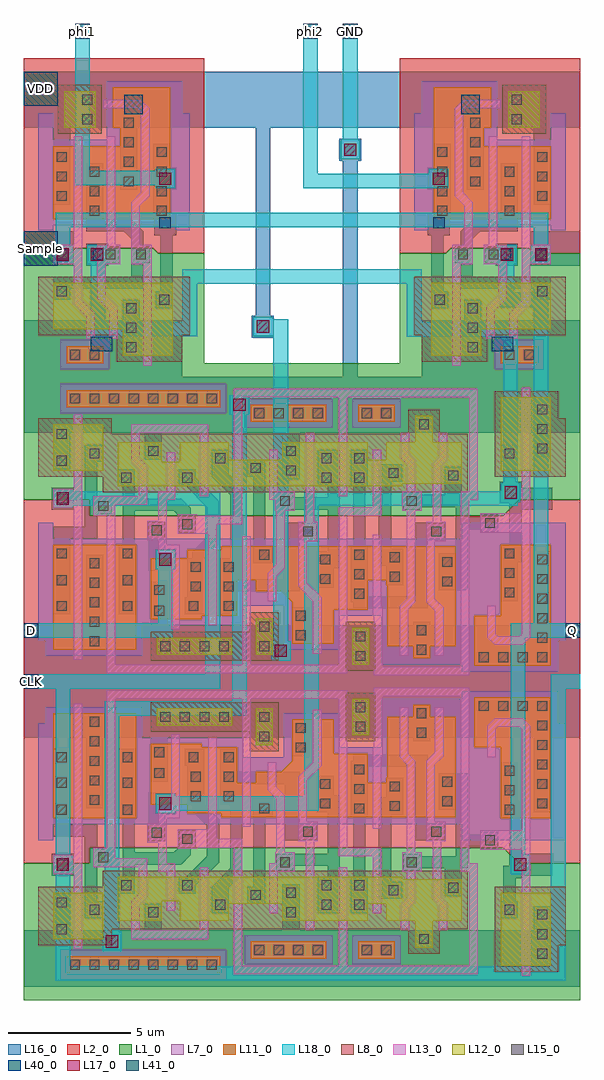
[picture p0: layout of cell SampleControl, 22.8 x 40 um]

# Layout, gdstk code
from math import pi, radians
import gdstk
lib = gdstk.Library(unit=1e-6, precision=1e-09)
def R(c, l, rs):  # rectangles x0, y0, x1, y1
    for r in rs: c.add(gdstk.rectangle(r[:2], r[2:], *l))
def A(c, l, x, y, w, h, nx, ny, dx, dy):  # array of equal rectangles
    R(c, l, [(x+i*dx, y+j*dy, x+i*dx+w, y+j*dy+h) for i in range(nx) for j in range(ny)])
def P(c, l, *ps):  # polygons
    for p in ps: c.add(gdstk.Polygon(p, *l))
L1_0 = (1, 0)
L2_0 = (2, 0)
L7_0 = (7, 0)
L8_0 = (8, 0)
L11_0 = (11, 0)
L12_0 = (12, 0)
L13_0 = (13, 0)
L15_0 = (15, 0)
L16_0 = (16, 0)
L17_0 = (17, 0)
L18_0 = (18, 0)
L40_0 = (40, 0)
L41_0 = (41, 0)

dff1q = lib.new_cell('DFF1Q')
P(dff1q, L1_0, [(21.2,5.05),(18.7,5.05),(18.05,5.7),(1.1,5.7),(1.1,5.05),(-1.6,5.05),(-1.6,-0.55),(21.2,-0.55)])
P(dff1q, L2_0, [(21.2,13.05),(-1.6,13.05),(-1.6,5.05),(1.1,5.05),(1.1,5.7),(18.05,5.7),(18.7,5.05),(21.2,5.05)])
R(dff1q, L7_0, [(-0.1,0.3,6.7,1.5), (7.45,0.9,11.05,2.1), (11.85,0.9,13.85,2.1)])
P(dff1q, L7_0, [(-1,6),(-1,10.8),(-0.7,10.8),(-0.7,11.45),(3.25,11.45),(3.25,10.2),(7.4,10.2),(7.4,9.4),(9.05,9.4),(9.05,11.2),(11.35,11.2),(11.35,9.8),(13.05,9.8),(13.05,11.8),(16.35,11.8),(16.35,12.1),(20.3,12.1),(20.3,10.8),(20.6,10.8),(20.6,6),(16.35,6),(16.35,6.65),(-0.4,6.65),(-0.4,6)])
R(dff1q, L8_0, [(11.6,10.05,12.8,12.05)])
P(dff1q, L8_0, [(17.7,0.6),(17.7,4.1),(20.6,4.1),(20.6,1.7),(20.3,1.7),(20.3,0.6)],
  [(7.65,9.65),(7.65,10.45),(3.6,10.45),(3.6,11.65),(8.85,11.65),(8.85,9.65)],
  [(14.15,1.35),(14.15,2.35),(2,2.35),(2,1.7),(-1,1.7),(-1,4.1),(1.625,4.1),(1.625,4.75),(16.6,4.75),(16.6,2.35),(15.45,2.35),(15.45,1.35)])
R(dff1q, L11_0, [(0.15,0.55,6.45,1.25), (7.7,1.15,10.8,1.85), (12.1,1.15,13.6,1.85), (-0.4,6.9,3,11.2)])
P(dff1q, L11_0, [(17.95,6.9),(17.95,9.8),(16.85,9.8),(16.85,11.85),(20,11.85),(20,6.9)],
  [(6.5,6.95),(6.5,7.1),(5.1,7.1),(5.1,7.45),(3.6,7.45),(3.6,9.95),(5.7,9.95),(5.7,9.8),(7.15,9.8),(7.15,8.35),(7.9,8.35),(7.9,8.8),(8.95,8.8),(9.4,9.25),(9.4,10.95),(11.1,10.95),(11.1,9.55),(12.5,9.55),(12.5,8.35),(13.25,8.35),(13.25,8.55),(13.3,8.55),(13.3,11.05),(14.35,11.05),(14.35,11.55),(15.05,11.55),(15.05,11.05),(16.1,11.05),(16.1,6.95)])
R(dff1q, L12_0, [(17.95,0.85,20,3.85), (-0.4,1.95,1.65,3.85), (7.9,9.9,8.6,11.4), (11.85,10.3,12.55,11.8), (3.85,10.7,6.95,11.4)])
P(dff1q, L12_0, [(2.25,2.7),(2.25,4.5),(13.9,4.5),(13.9,4.4),(16.35,4.4),(16.35,2.7),(15.15,2.7),(15.15,1.6),(14.45,1.6),(14.45,2.7),(13.25,2.7),(13.25,3.4),(12.5,3.4),(12.5,2.7),(9,2.7),(9,3.4),(6.8,3.4),(6.8,2.7),(4.8,2.7),(4.8,3.5),(4.05,3.5),(4.05,2.7)])
P(dff1q, L13_0, [(3.9,4.7),(3.9,5.9),(3.45,5.9),(3.45,6.7),(3.9,6.7),(3.9,7.25),(4.45,7.25),(4.45,10.35),(4.8,10.35),(4.8,6.9),(4.25,6.9),(4.25,5.05),(4.6,5.05),(4.6,3.1),(4.25,3.1),(4.25,4.7)],
  [(0.45,1.55),(0.45,4.6),(-0.4,4.6),(-0.4,5.4),(0.45,5.4),(0.45,11.6),(0.8,11.6),(0.8,1.55)],
  [(9.95,2.3),(9.95,5.95),(9.65,5.95),(9.65,8.6),(10.25,9.2),(10.25,11.35),(10.6,11.35),(10.6,9.05),(10,8.45),(10,6.75),(10.45,6.75),(10.45,5.95),(10.3,5.95),(10.3,2.3)],
  [(13.85,2.3),(13.85,3.35),(14.1,3.6),(14.1,4.7),(13.9,4.7),(13.9,5.5),(14.1,5.5),(14.1,9.1),(13.8,9.4),(13.8,11.45),(14.15,11.45),(14.15,9.55),(14.45,9.25),(14.45,5.5),(14.7,5.5),(14.7,4.7),(14.45,4.7),(14.45,3.45),(14.2,3.2),(14.2,2.3)],
  [(15.4,2.3),(15.4,3.3),(15.15,3.55),(15.15,5.95),(14.9,5.95),(14.9,9.25),(15.25,9.6),(15.25,11.45),(15.6,11.45),(15.6,9.45),(15.25,9.1),(15.25,6.75),(15.7,6.75),(15.7,5.95),(15.5,5.95),(15.5,3.7),(15.75,3.45),(15.75,2.3)],
  [(18.8,0.45),(18.8,5.6),(17.1,5.6),(17.1,6.4),(18.8,6.4),(18.8,10.55),(18.7,10.65),(17.85,10.65),(17.75,10.55),(17.75,9.4),(17.4,9.4),(17.4,10.7),(17.7,11),(18.85,11),(19.15,10.7),(19.15,0.45)],
  [(1.25,4.9),(1.25,5.7),(1.8,5.7),(1.8,12.15),(11.65,12.15),(11.65,5.7),(13.05,5.7),(13.05,3),(12.7,3),(12.7,5.35),(11.3,5.35),(11.3,11.8),(7.7,11.8),(7.7,6.55),(7.35,6.55),(7.35,11.8),(2.15,11.8),(2.15,5.25),(3.45,5.25),(3.45,3.65),(3.15,3.35),(3.15,2.3),(5.6,2.3),(5.6,4.9),(5.95,4.9),(5.95,1.95),(2.8,1.95),(2.8,3.5),(3.1,3.8),(3.1,4.9)],
  [(7,0.5),(7,5.7),(5.5,5.7),(5.5,5.65),(4.7,5.65),(4.7,6.45),(5.95,6.45),(5.95,10.2),(6.3,10.2),(6.3,6.05),(7.35,6.05),(7.35,0.85),(11.3,0.85),(11.3,4.9),(11.65,4.9),(11.65,0.85),(16.65,0.85),(16.65,4.7),(16.3,4.7),(16.3,11.9),(13.1,11.9),(13.1,9.425),(13.05,9.425),(13.05,6.475),(12.7,6.475),(12.7,9.775),(12.75,9.775),(12.75,12.25),(16.65,12.25),(16.65,5.05),(17,5.05),(17,0.5)],
  [(8.45,3),(8.45,5.05),(8.7,5.05),(8.7,5.5),(8.75,5.5),(8.75,7.7),(8.4,8.05),(8.4,9.2),(8.75,9.2),(8.75,8.2),(9.1,7.85),(9.1,5.5),(9.5,5.5),(9.5,4.7),(8.8,4.7),(8.8,3)])
A(dff1q, L15_0, 0.3, 0.7, 0.4, 0.4, 8, 1, 0.8, 0)
A(dff1q, L15_0, 19.45, 1.15, 0.4, 0.4, 1, 3, 0, 0.8)
A(dff1q, L15_0, 7.85, 1.3, 0.4, 0.4, 4, 1, 0.8, 0)
A(dff1q, L15_0, 18.1, 7.05, 0.4, 0.4, 1, 3, 0, 0.8)
A(dff1q, L15_0, 11.95, 7.1, 0.4, 0.4, 1, 3, 0, 0.8)
A(dff1q, L15_0, 19.45, 7.3, 0.4, 0.4, 1, 5, 0, 0.8)
A(dff1q, L15_0, 1.1, 7.45, 0.4, 0.4, 1, 5, 0, 0.8)
A(dff1q, L15_0, 6.6, 7.6, 0.4, 0.4, 1, 3, 0, 0.8)
A(dff1q, L15_0, -0.25, 9.2, 0.4, 0.4, 3, 1, 2.7, 0)
A(dff1q, L15_0, 4, 10.85, 0.4, 0.4, 4, 1, 0.8, 0)
A(dff1q, L15_0, 17.05, 11.3, 0.4, 0.4, 4, 1, 0.8, 0)
R(dff1q, L15_0, [(12.25,1.3,12.65,1.7), (13.05,1.3,13.45,1.7), (14.6,1.75,15,2.15), (-0.25,2.15,0.15,2.55), (3.5,2.85,3.9,3.25), (9.15,2.85,9.55,3.25), (1.1,2.95,1.5,3.35), (18.1,2.95,18.5,3.35), (6.25,3.15,6.65,3.55), (10.6,3.15,11,3.55), (11.95,3.15,12.35,3.55), (-0.25,3.25,0.15,3.65), (7.7,3.55,8.1,3.95), (9.15,3.65,9.55,4.05), (13.35,3.75,13.75,4.15), (15.8,3.85,16.2,4.25), (2.4,3.95,2.8,4.35), (4.9,3.95,5.3,4.35), (10.6,3.95,11,4.35), (11.95,3.95,12.35,4.35), (-0.2,4.8,0.2,5.2), (8.9,4.9,9.3,5.3), (14.1,4.9,14.5,5.3), (1.45,5.1,1.85,5.5), (17.3,5.8,17.7,6.2), (4.9,5.85,5.3,6.25), (3.65,6.1,4.05,6.5), (9.85,6.15,10.25,6.55), (15.1,6.15,15.5,6.55), (-0.25,7.05,0.15,7.45), (2.45,7.05,2.85,7.45), (8.05,7.1,8.45,7.5), (13.4,7.2,13.8,7.6), (10.55,7.3,10.95,7.7), (15.55,7.4,15.95,7.8), (5.25,7.6,5.65,8), (13.4,8,13.8,8.4), (10.55,8.1,10.95,8.5), (-0.25,8.15,0.15,8.55), (2.45,8.15,2.85,8.55), (15.55,8.2,15.95,8.6), (5.25,8.4,5.65,8.8), (3.75,8.55,4.15,8.95), (3.75,9.4,4.15,9.8), (9.55,9.6,9.95,10), (8.05,10.05,8.45,10.45), (14.5,10.2,14.9,10.6), (9.55,10.4,9.95,10.8), (12,10.45,12.4,10.85), (8.05,10.85,8.45,11.25), (14.5,11,14.9,11.4), (12,11.25,12.4,11.65)])
R(dff1q, L16_0, [(-0.45,4.55,0.45,5.45)])
P(dff1q, L16_0, [(7.55,3.4),(7.55,4.1),(7.8,4.1),(7.8,7.65),(8.6,7.65),(8.6,6.95),(8.3,6.95),(8.3,3.4)],
  [(3.5,5.95),(3.5,7.95),(4.65,7.95),(4.65,7.05),(4.2,7.05),(4.2,5.95)],
  [(10.45,3),(10.45,4.5),(10.85,4.5),(10.85,4.95),(9.45,4.95),(9.45,4.75),(8.75,4.75),(8.75,5.45),(10.85,5.45),(10.85,7.15),(10.4,7.15),(10.4,8.65),(11.1,8.65),(11.1,7.85),(11.35,7.85),(11.35,3)],
  [(12.95,3.6),(12.95,7.75),(13.25,7.75),(13.25,8.55),(13.95,8.55),(13.95,7.05),(13.45,7.05),(13.45,4.3),(13.9,4.3),(13.9,3.6)],
  [(15.65,3.7),(15.65,4.85),(14.65,4.85),(14.65,4.75),(13.95,4.75),(13.95,5.45),(14.65,5.45),(14.65,5.35),(16.1,5.35),(16.1,7.25),(15.4,7.25),(15.4,8.75),(16.6,8.75),(16.6,6.25),(17.15,6.25),(17.15,6.35),(17.85,6.35),(17.85,5.65),(17.15,5.65),(17.15,5.75),(16.6,5.75),(16.6,4.85),(16.35,4.85),(16.35,3.7)],
  [(17.95,2.8),(17.95,3.5),(18.05,3.5),(18.05,4.95),(18.3,4.95),(18.3,6.9),(17.95,6.9),(17.95,9.2),(18.65,9.2),(18.65,7.6),(18.8,7.6),(18.8,5.45),(20.05,5.45),(20.05,4.55),(18.8,4.55),(18.8,4.45),(18.55,4.45),(18.55,3.5),(18.65,3.5),(18.65,2.8)],
  [(-0.4,6.15),(-0.4,9.75),(0.3,9.75),(0.3,6.65),(1.4,6.65),(1.4,5.65),(2,5.65),(2,4.95),(1.4,4.95),(1.4,3.5),(1.65,3.5),(1.65,2.8),(0.9,2.8),(0.9,6.15)],
  [(2.25,3.8),(2.25,4.5),(2.45,4.5),(2.45,6.9),(2.3,6.9),(2.3,9.75),(3,9.75),(3,6.9),(2.95,6.9),(2.95,5.5),(4.55,5.5),(4.75,5.7),(4.75,6.4),(5.45,6.4),(5.45,5.7),(5.25,5.7),(5.25,5.4),(4.85,5),(2.95,5),(2.95,3.8)],
  [(4.75,3.8),(4.75,4.5),(5.05,4.5),(5.9,5.35),(5.9,6.6),(5.3,7.2),(5.3,7.45),(5.1,7.45),(5.1,9.05),(5,9.05),(5,9.75),(5.8,9.75),(5.8,7.45),(6.4,6.85),(6.4,5.1),(5.45,4.15),(5.45,3.8)],
  [(6.1,3),(6.1,4.1),(6.85,4.85),(6.85,7.45),(6.45,7.45),(6.45,9.75),(7.15,9.75),(7.15,8.8),(9.7,8.8),(9.7,6.7),(10.4,6.7),(10.4,6),(9.1,6),(9.1,8.3),(7.35,8.3),(7.35,4.6),(6.8,4.05),(6.8,3)],
  [(11.8,3),(11.8,4.5),(11.9,4.5),(11.9,6.95),(11.8,6.95),(11.8,9.25),(11.9,9.25),(11.9,9.5),(14.95,9.5),(14.95,6.7),(15.65,6.7),(15.65,6),(14.45,6),(14.45,9),(12.5,9),(12.5,6.95),(12.4,6.95),(12.4,4.5),(12.5,4.5),(12.5,3)],
  [(19.3,7.15),(19.3,10.2),(15.05,10.2),(15.05,10.05),(14.35,10.05),(14.35,10.2),(10.1,10.2),(10.1,9.45),(9.4,9.45),(9.4,10.2),(8.6,10.2),(8.6,9.9),(7.9,9.9),(7.9,10.2),(4.3,10.2),(4.3,8.4),(3.6,8.4),(3.6,10.2),(1.65,10.2),(1.65,7.3),(0.95,7.3),(0.95,10.2),(-0.7,10.2),(-0.7,12.5),(20.3,12.5),(20.3,10.2),(20,10.2),(20,7.15)],
  [(-0.7,0),(-0.7,2.3),(-0.4,2.3),(-0.4,3.8),(0.3,3.8),(0.3,2.3),(3.35,2.3),(3.35,3.4),(4.05,3.4),(4.05,2.3),(9,2.3),(9,4.2),(9.7,4.2),(9.7,2.3),(19.3,2.3),(19.3,3.3),(20,3.3),(20,2.3),(20.3,2.3),(20.3,0)])
dff1q.add(gdstk.Label('DFF1Q', (-0.7,0), layer=62, texttype=0))
dff1q.add(gdstk.Label('CP', (0,5), layer=40, texttype=0))
dff1q.add(gdstk.Label('D', (4.2,7.5), layer=40, texttype=0))
dff1q.add(gdstk.Label('VDD', (-0.6,11.45), layer=40, texttype=0))
dff1q.add(gdstk.Label('VSS', (-0.6,1.25), layer=40, texttype=0))
dff1q.add(gdstk.Label('Q', (19.6,5), layer=40, texttype=0))
dff1q.add(gdstk.Label('& SerialNumber 000000', (0,0), layer=11, texttype=0))
dff1q.add(gdstk.Label('& Distributor Vanguard', (0,0), layer=11, texttype=0))
dff1q.add(gdstk.Label('& Metric 262.5', (0,0), layer=11, texttype=0))
dff1q.add(gdstk.Label('& Version 400c', (0,0), layer=11, texttype=0))
dff1q.add(gdstk.Label('& Product tcb773p', (0,0), layer=11, texttype=0))
dff1q.add(gdstk.Label('& Vendor Taiwan Semiconductor Manufacturing Corp.', (0,0), layer=11, texttype=0))

an2d1 = lib.new_cell('AN2D1')
P(an2d1, L1_0, [(5.8,5.05),(3.9,5.05),(3.7,5.25),(0.5,5.25),(0.3,5.05),(-1.6,5.05),(-1.6,-0.55),(5.8,-0.55)])
P(an2d1, L2_0, [(5.8,13.05),(-1.6,13.05),(-1.6,5.05),(0.3,5.05),(0.5,5.25),(3.7,5.25),(3.9,5.05),(5.8,5.05)])
R(an2d1, L7_0, [(-0.1,0.3,1.9,1.5)])
P(an2d1, L7_0, [(-1,6),(-1,10.8),(-0.4,10.8),(-0.4,9.7),(1.8,9.7),(1.8,12.1),(4.9,12.1),(4.9,10.8),(5.2,10.8),(5.2,6),(4.6,6),(4.6,6.2),(-0.4,6.2),(-0.4,6)])
R(an2d1, L8_0, [(-0.2,9.95,1.6,11.95)])
P(an2d1, L8_0, [(2.2,0.6),(2.2,1.7),(-1,1.7),(-1,4.1),(5.2,4.1),(5.2,1.7),(4.9,1.7),(4.9,0.6)])
R(an2d1, L11_0, [(0.15,0.55,1.65,1.25)])
P(an2d1, L11_0, [(-0.4,6.45),(-0.4,9.45),(2.35,9.45),(2.35,10.2),(2.05,10.2),(2.05,11.85),(4.4,11.85),(4.4,6.45)])
R(an2d1, L12_0, [(0.05,10.2,1.35,11.7)])
P(an2d1, L12_0, [(2.45,0.85),(2.45,1.95),(-0.4,1.95),(-0.4,3.85),(4.5,3.85),(4.5,0.85)])
P(an2d1, L13_0, [(1.9,1.55),(1.9,2.7),(1.4,3.2),(1.4,5.4),(1.8,5.4),(1.8,9.85),(2.15,9.85),(2.15,5.4),(2.35,5.4),(2.35,4.6),(1.75,4.6),(1.75,3.35),(2.25,2.85),(2.25,1.55)],
  [(2.8,4.6),(2.8,7.15),(3.2,7.55),(3.2,10.85),(3.05,11),(1.65,11),(1.65,11.35),(3.2,11.35),(3.55,11),(3.55,7.4),(3.15,7),(3.15,5.4),(3.65,5.4),(3.65,0.45),(3.3,0.45),(3.3,4.6)],
  [(0.95,1.55),(0.95,2.45),(0.45,2.95),(0.45,4.6),(-0.4,4.6),(-0.4,5.4),(0.45,5.4),(0.45,9.85),(0.8,9.85),(0.8,3.1),(1.3,2.6),(1.3,1.55)])
A(an2d1, L15_0, 2.6, 1, 0.4, 0.4, 1, 3, 0, 0.8)
A(an2d1, L15_0, 1.1, 6.6, 0.4, 0.4, 1, 3, 0, 0.8)
A(an2d1, L15_0, 3.85, 6.6, 0.4, 0.4, 1, 4, 0, 0.8)
A(an2d1, L15_0, -0.25, 7.2, 0.4, 0.4, 1, 3, 0, 0.8)
A(an2d1, L15_0, 2.5, 7.8, 0.4, 0.4, 1, 4, 0, 0.8)
R(an2d1, L15_0, [(0.3,0.7,0.7,1.1), (1.1,0.7,1.5,1.1), (3.95,2.95,4.35,3.35), (-0.25,3.3,0.15,3.7), (-0.2,4.8,0.2,5.2), (1.75,4.8,2.15,5.2), (3,4.8,3.4,5.2), (0.8,10.35,1.2,10.75), (0.8,11.15,1.2,11.55)])
R(an2d1, L16_0, [(-0.45,4.55,0.45,5.45)])
P(an2d1, L16_0, [(0.95,4.55),(0.95,5.45),(1.85,5.45),(1.85,5.35),(2.3,5.35),(2.3,4.65),(1.85,4.65),(1.85,4.55)],
  [(-0.4,3.15),(-0.4,4.1),(2.8,4.1),(2.8,5.65),(2.5,5.95),(0.95,5.95),(0.95,8.75),(1.65,8.75),(1.65,6.45),(2.8,6.45),(3.3,5.95),(3.3,5.35),(3.55,5.35),(3.55,4.65),(3.3,4.65),(3.3,3.6),(0.3,3.6),(0.3,3.15)],
  [(3.8,2.8),(3.8,3.5),(4,3.5),(4,5.8),(3.75,5.8),(3.75,6.45),(3.7,6.45),(3.7,9.55),(4.4,9.55),(4.4,6.7),(4.65,6.7),(4.65,5.8),(4.5,5.8),(4.5,2.8)],
  [(-0.4,7.05),(-0.4,10.2),(-0.7,10.2),(-0.7,12.5),(4.9,12.5),(4.9,10.2),(3.05,10.2),(3.05,7.65),(2.35,7.65),(2.35,10.2),(0.3,10.2),(0.3,7.05)],
  [(-0.7,0),(-0.7,2.3),(2.45,2.3),(2.45,3.15),(3.15,3.15),(3.15,2.3),(4.9,2.3),(4.9,0)])
R(an2d1, L40_0, [(1.14,1.04,2.02,1.64), (-0.26,4.72,0.25,5.24), (1.22,4.78,1.65,5.24), (3.94,6.07,4.43,6.53), (2.51,10.76,3.28,11.56)])
an2d1.add(gdstk.Label('AN2D1', (-0.7,0), layer=62, texttype=0))
an2d1.add(gdstk.Label('Z', (4.2,6.25), layer=40, texttype=0))
an2d1.add(gdstk.Label('A1', (0,5), layer=40, texttype=0))
an2d1.add(gdstk.Label('VSS', (3.15,0.8), layer=40, texttype=0))
an2d1.add(gdstk.Label('VDD', (2.875,11.1), layer=40, texttype=0))
an2d1.add(gdstk.Label('A2', (1.4,5), layer=40, texttype=0))
an2d1.add(gdstk.Label('& SerialNumber 000000', (0,0), layer=11, texttype=0))
an2d1.add(gdstk.Label('& Distributor Vanguard', (0,0), layer=11, texttype=0))
an2d1.add(gdstk.Label('& Metric 70.0', (0,0), layer=11, texttype=0))
an2d1.add(gdstk.Label('& Version 400c', (0,0), layer=11, texttype=0))
an2d1.add(gdstk.Label('& Product tcb773p', (0,0), layer=11, texttype=0))
an2d1.add(gdstk.Label('& Vendor Taiwan Semiconductor Manufacturing Corp.', (0,0), layer=11, texttype=0))
an2d1.add(gdstk.Label('VDD', (2.94,11.36), layer=2, texttype=0))
an2d1.add(gdstk.Label('Z', (4.23,6.3), layer=2, texttype=0))
an2d1.add(gdstk.Label('A1', (-0.01,5.04), layer=2, texttype=0))
an2d1.add(gdstk.Label('A2', (1.45,5.04), layer=2, texttype=0))
an2d1.add(gdstk.Label('VSS', (1.57,1.35), layer=2, texttype=0))

m2_m1_cdns_759864592130 = lib.new_cell('M2_M1_CDNS_759864592130')
R(m2_m1_cdns_759864592130, L16_0, [(-0.45,-0.45,0.45,0.45)])
R(m2_m1_cdns_759864592130, L17_0, [(-0.25,-0.25,0.25,0.25)])
R(m2_m1_cdns_759864592130, L18_0, [(-0.4,-0.4,0.4,0.4)])

m2_m1_cdns_759864592131 = lib.new_cell('M2_M1_CDNS_759864592131')
R(m2_m1_cdns_759864592131, L16_0, [(-0.445,-0.45,0.455,0.45)])
R(m2_m1_cdns_759864592131, L17_0, [(-0.245,-0.25,0.255,0.25)])
R(m2_m1_cdns_759864592131, L18_0, [(-0.395,-0.4,0.405,0.4)])

samplecontrol = lib.new_cell('SampleControl')
R(samplecontrol, L16_0, [(0,0.55,0.9,2.85), (21.9,0.55,22.8,2.85), (0,10.75,0.9,13.05), (21.9,10.75,22.8,13.05), (0,13.05,0.9,15.35), (21.9,13.05,22.8,15.35), (0,23.25,0.9,25.55), (21.9,23.25,22.8,25.55), (0,25.55,0.9,27.85), (21.9,25.55,22.8,27.85), (16.74,31.57,17.35,32.15), (5.52,31.6,6.08,32.12), (0,35.75,0.9,38.05), (6.5,35.75,16.3,38.05), (21.9,35.75,22.8,38.05)])
R(samplecontrol, L18_0, [(10.2,27.2,10.23,28)])
R(samplecontrol, L40_0, [(0,30.1,1.4,31.5), (0,36.65,1.4,38.05)])
R(samplecontrol, L41_0, [(0,12.75,0.6,13.35), (0,14.85,0.6,15.45), (22.2,14.85,22.8,15.45), (2.1,39.4,2.7,40), (11.45,39.4,12.05,40), (13.08,39.4,13.68,40)])
samplecontrol.add(gdstk.FlexPath([(17,31.62),(17,33.66)], 0.5, ends="flush", simple_path=True, layer=16, datatype=0))  # L16_0
samplecontrol.add(gdstk.FlexPath([(5.8,31.62),(5.8,33.66)], 0.5, ends="flush", simple_path=True, layer=16, datatype=0))  # L16_0
samplecontrol.add(gdstk.FlexPath([(13.38,34.85),(13.38,25.55)], 0.6, ends="flush", simple_path=True, layer=16, datatype=0))  # L16_0
samplecontrol.add(gdstk.FlexPath([(0,30.8),(1.6,30.8)], 1.4, ends=(0, 0.45), simple_path=True, layer=16, datatype=0))  # L16_0
samplecontrol.add(gdstk.FlexPath([(20.75,30.8),(22.35,30.8)], 1.4, ends=(0, 0.45), simple_path=True, layer=16, datatype=0))  # L16_0
samplecontrol.add(gdstk.FlexPath([(9.8,35.75),(9.8,27.6)], 0.6, ends="flush", simple_path=True, layer=16, datatype=0))  # L16_0
samplecontrol.add(gdstk.FlexPath([(21.19,30.55),(21.2,30.55)], 0.6, ends=(0.3, 0), simple_path=True, layer=18, datatype=0))  # L18_0
samplecontrol.add(gdstk.FlexPath([(21.19,31.96),(21.19,30.55)], 0.6, ends="extended", simple_path=True, layer=18, datatype=0))  # L18_0
samplecontrol.add(gdstk.FlexPath([(1.6,31.96),(21.19,31.96)], 0.6, ends="extended", simple_path=True, layer=18, datatype=0))  # L18_0
samplecontrol.add(gdstk.FlexPath([(1.6,30.55),(1.6,31.96)], 0.6, ends=(0, 0.3), simple_path=True, layer=18, datatype=0))  # L18_0
samplecontrol.add(gdstk.FlexPath([(11.75,33.56),(11.75,40)], 0.6, ends=(0.3, 0), simple_path=True, layer=18, datatype=0))  # L18_0
samplecontrol.add(gdstk.FlexPath([(5.8,33.66),(5.8,33.69)], 0.6, ends=(0, 0.3), simple_path=True, layer=18, datatype=0))  # L18_0
samplecontrol.add(gdstk.FlexPath([(19.95,20.56),(19.95,20.8)], 0.6, ends=(0.3, 0), simple_path=True, layer=18, datatype=0))  # L18_0
samplecontrol.add(gdstk.FlexPath([(11.79,20.56),(19.95,20.56)], 0.6, ends="extended", simple_path=True, layer=18, datatype=0))  # L18_0
samplecontrol.add(gdstk.FlexPath([(11.79,8.05),(11.79,20.56)], 0.6, ends="extended", simple_path=True, layer=18, datatype=0))  # L18_0
samplecontrol.add(gdstk.FlexPath([(5.8,8.05),(11.79,8.05)], 0.6, ends=(0, 0.3), simple_path=True, layer=18, datatype=0))  # L18_0
samplecontrol.add(gdstk.FlexPath([(19.95,27.49),(19.95,27.5)], 0.6, ends=(0.3, 0), simple_path=True, layer=18, datatype=0))  # L18_0
samplecontrol.add(gdstk.FlexPath([(16,27.49),(19.95,27.49)], 0.6, ends="extended", simple_path=True, layer=18, datatype=0))  # L18_0
samplecontrol.add(gdstk.FlexPath([(16,29.65),(16,27.49)], 0.6, ends="extended", simple_path=True, layer=18, datatype=0))  # L18_0
samplecontrol.add(gdstk.FlexPath([(6.8,29.65),(16,29.65)], 0.6, ends="extended", simple_path=True, layer=18, datatype=0))  # L18_0
samplecontrol.add(gdstk.FlexPath([(6.8,27.5),(6.8,29.65)], 0.6, ends="extended", simple_path=True, layer=18, datatype=0))  # L18_0
samplecontrol.add(gdstk.FlexPath([(21.9,13.05),(22.8,13.05)], 0.6, ends=(0.3, 0), simple_path=True, layer=18, datatype=0))  # L18_0
samplecontrol.add(gdstk.FlexPath([(21.9,1.09),(21.9,13.05)], 0.6, ends="extended", simple_path=True, layer=18, datatype=0))  # L18_0
samplecontrol.add(gdstk.FlexPath([(1.6,1.09),(21.9,1.09)], 0.6, ends="extended", simple_path=True, layer=18, datatype=0))  # L18_0
samplecontrol.add(gdstk.FlexPath([(1.6,5.55),(1.6,1.09)], 0.6, ends=(0, 0.3), simple_path=True, layer=18, datatype=0))  # L18_0
samplecontrol.add(gdstk.FlexPath([(20.25,15.15),(21.2,15.15)], 0.6, ends="extended", simple_path=True, layer=18, datatype=0))  # L18_0
samplecontrol.add(gdstk.FlexPath([(13.38,40),(13.38,34.85)], 0.6, ends="flush", simple_path=True, layer=18, datatype=0))  # L18_0
samplecontrol.add(gdstk.FlexPath([(20.25,5.55),(20.25,15.15)], 0.6, ends=(0.4, 0.3), simple_path=True, layer=18, datatype=0))  # L18_0
samplecontrol.add(gdstk.FlexPath([(3.04,30.55),(3.04,27.5)], 0.6, ends=(0, 0.3), simple_path=True, layer=18, datatype=0))  # L18_0
samplecontrol.add(gdstk.FlexPath([(3.04,27.5),(6.8,27.5)], 0.6, ends="extended", simple_path=True, layer=18, datatype=0))  # L18_0
samplecontrol.add(gdstk.FlexPath([(19.95,20.8),(19.95,27.49)], 0.6, ends=(0, 0.3), simple_path=True, layer=18, datatype=0))  # L18_0
samplecontrol.add(gdstk.FlexPath([(19.8,28.7),(19.8,30.55)], 0.6, ends=(0.3, 0), simple_path=True, layer=18, datatype=0))  # L18_0
samplecontrol.add(gdstk.FlexPath([(21.2,28.7),(19.8,28.7)], 0.6, ends="extended", simple_path=True, layer=18, datatype=0))  # L18_0
samplecontrol.add(gdstk.FlexPath([(17,33.56),(11.75,33.56)], 0.6, ends=(0.4, 0.3), simple_path=True, layer=18, datatype=0))  # L18_0
samplecontrol.add(gdstk.FlexPath([(17,33.66),(17,33.56)], 0.8, ends=(0, 0.3), simple_path=True, layer=18, datatype=0))  # L18_0
samplecontrol.add(gdstk.FlexPath([(5.8,33.69),(2.4,33.69)], 0.6, ends="extended", simple_path=True, layer=18, datatype=0))  # L18_0
samplecontrol.add(gdstk.FlexPath([(21.2,15.15),(21.2,28.7)], 0.6, ends="extended", simple_path=True, layer=18, datatype=0))  # L18_0
samplecontrol.add(gdstk.FlexPath([(22.8,15.15),(21.2,15.15)], 0.6, ends=(0, 0.3), simple_path=True, layer=18, datatype=0))  # L18_0
samplecontrol.add(gdstk.FlexPath([(20.35,5.55),(20.25,5.55)], 0.8, ends=(0, 0.3), simple_path=True, layer=18, datatype=0))  # L18_0
samplecontrol.add(gdstk.FlexPath([(2.4,33.69),(2.4,40)], 0.6, ends=(0.3, 0), simple_path=True, layer=18, datatype=0))  # L18_0
samplecontrol.add(gdstk.FlexPath([(5.8,15.15),(0,15.15)], 0.6, ends=(0.3, 0), simple_path=True, layer=18, datatype=0))  # L18_0
samplecontrol.add(gdstk.FlexPath([(5.8,18.05),(5.8,15.15)], 0.6, ends=(0, 0.3), simple_path=True, layer=18, datatype=0))  # L18_0
samplecontrol.add(gdstk.FlexPath([(1.6,5.55),(1.6,13.05)], 0.6, ends=(0, 0.3), simple_path=True, layer=18, datatype=0))  # L18_0
samplecontrol.add(gdstk.FlexPath([(7.74,13.05),(1.6,13.05)], 0.6, ends="extended", simple_path=True, layer=18, datatype=0))  # L18_0
samplecontrol.add(gdstk.FlexPath([(1.6,13.05),(0,13.05)], 0.6, ends=(0.3, 0), simple_path=True, layer=18, datatype=0))  # L18_0
samplecontrol.add(gdstk.FlexPath([(7.74,20.55),(7.74,13.05)], 0.6, ends="extended", simple_path=True, layer=18, datatype=0))  # L18_0
samplecontrol.add(gdstk.FlexPath([(1.6,20.55),(7.74,20.55)], 0.6, ends=(0, 0.3), simple_path=True, layer=18, datatype=0))  # L18_0
samplecontrol.add(gdstk.FlexPath([(10.53,27.6),(10.53,14.31)], 0.6, ends=(0.3, 0), simple_path=True, layer=18, datatype=0))  # L18_0
samplecontrol.add(gdstk.FlexPath([(9.8,27.6),(10.53,27.6)], 0.6, ends=(0, 0.3), simple_path=True, layer=18, datatype=0))  # L18_0
samplecontrol.add(gdstk.FlexPath([(3.61,2.4),(3.61,11.95)], 0.6, ends=(0, 0.3), simple_path=True, layer=18, datatype=0))  # L18_0
samplecontrol.add(gdstk.FlexPath([(3.61,11.95),(8.84,11.95)], 0.6, ends="extended", simple_path=True, layer=18, datatype=0))  # L18_0
samplecontrol.add(gdstk.FlexPath([(8.84,11.95),(8.84,24.39)], 0.6, ends=(0.3, 0), simple_path=True, layer=18, datatype=0))  # L18_0
samplecontrol.add(gdstk.Reference(dff1q, (1.6,0.55)))
samplecontrol.add(gdstk.Reference(dff1q, (1.6,25.55), x_reflection=True))
samplecontrol.add(gdstk.Reference(an2d1, (21.2,25.55), rotation=pi, x_reflection=True))
samplecontrol.add(gdstk.Reference(an2d1, (1.6,25.55)))
samplecontrol.add(gdstk.Reference(m2_m1_cdns_759864592130, (10.53,14.31)))
samplecontrol.add(gdstk.Reference(m2_m1_cdns_759864592130, (9.8,27.6)))
samplecontrol.add(gdstk.Reference(m2_m1_cdns_759864592130, (13.38,34.85)))
samplecontrol.add(gdstk.Reference(m2_m1_cdns_759864592130, (8.84,24.39)))
samplecontrol.add(gdstk.Reference(m2_m1_cdns_759864592130, (3.61,2.4)))
samplecontrol.add(gdstk.Reference(m2_m1_cdns_759864592130, (19.95,20.8)))
samplecontrol.add(gdstk.Reference(m2_m1_cdns_759864592130, (21.2,30.55)))
samplecontrol.add(gdstk.Reference(m2_m1_cdns_759864592130, (1.6,30.55)))
samplecontrol.add(gdstk.Reference(m2_m1_cdns_759864592130, (17,33.66)))
samplecontrol.add(gdstk.Reference(m2_m1_cdns_759864592130, (5.8,33.66)))
samplecontrol.add(gdstk.Reference(m2_m1_cdns_759864592130, (19.8,30.55)))
samplecontrol.add(gdstk.Reference(m2_m1_cdns_759864592130, (20.35,5.55)))
samplecontrol.add(gdstk.Reference(m2_m1_cdns_759864592130, (5.8,8.05)))
samplecontrol.add(gdstk.Reference(m2_m1_cdns_759864592130, (5.8,18.05)))
samplecontrol.add(gdstk.Reference(m2_m1_cdns_759864592130, (1.6,5.55)))
samplecontrol.add(gdstk.Reference(m2_m1_cdns_759864592130, (1.6,20.55)))
samplecontrol.add(gdstk.Reference(m2_m1_cdns_759864592131, (2.995,30.55)))
samplecontrol.add(gdstk.Label('Sample', (0.7,30.8), layer=40, texttype=0))
samplecontrol.add(gdstk.Label('VDD', (0.7,37.35), layer=40, texttype=0))
samplecontrol.add(gdstk.Label('Q', (22.5,15.15), layer=41, texttype=0))
samplecontrol.add(gdstk.Label('CLK', (0.3,13.05), layer=41, texttype=0))
samplecontrol.add(gdstk.Label('D', (0.3,15.15), layer=41, texttype=0))
samplecontrol.add(gdstk.Label('GND', (13.38,39.7), layer=41, texttype=0))
samplecontrol.add(gdstk.Label('phi2', (11.75,39.7), layer=41, texttype=0))
samplecontrol.add(gdstk.Label('phi1', (2.4,39.7), layer=41, texttype=0))

lib.write_gds('SampleControl.gds')
